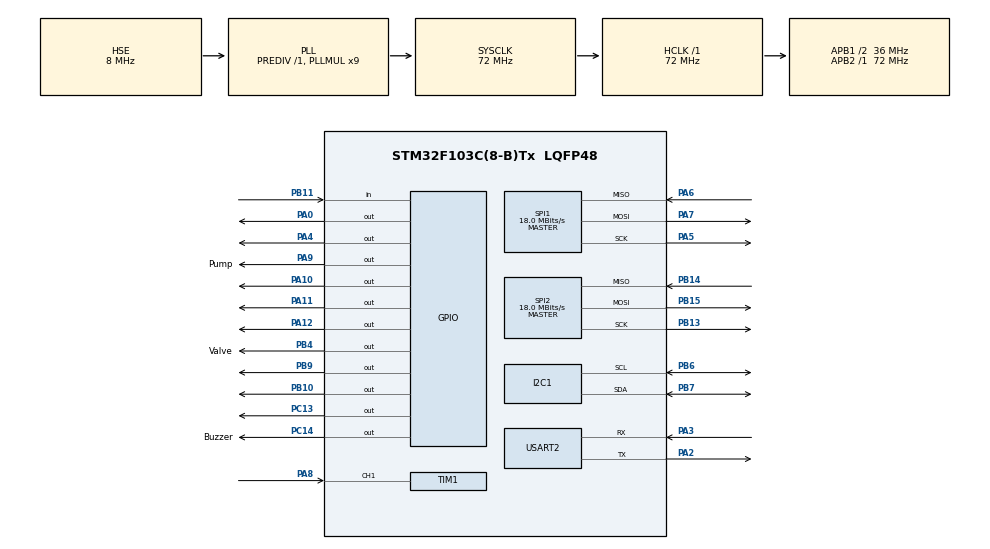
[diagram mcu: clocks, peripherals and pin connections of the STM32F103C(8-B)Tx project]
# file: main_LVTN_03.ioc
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Mcu.Family=STM32F1
PA6.Mode=Full_Duplex_Master
SPI1.VirtualType=VM_MASTER
SPI2.VirtualType=VM_MASTER
PB11.Signal=GPIO_Input
PB13.Signal=SPI2_SCK
PB15.Signal=SPI2_MOSI
RCC.SYSCLKSource=RCC_SYSCLKSOURCE_PLLCLK
ProjectManager.StackSize=0x400
PD1-OSC_OUT.Signal=RCC_OSC_OUT
PA12.Signal=GPIO_Output
TIM1.Prescaler=72-1
SPI1.Direction=SPI_DIRECTION_2LINES
RCC.HCLKFreq_Value=72000000
RCC.APB2TimFreq_Value=72000000
PB6.Signal=I2C1_SCL
SPI1.CalculateBaudRate=18.0 MBits/s
PB6.Mode=I2C
<<<<<<< HEAD
=======
>>>>>>> hx711
RCC.AHBFreq_Value=72000000
<<<<<<< HEAD
=======
>>>>>>> hx711
RCC.PLLMUL=RCC_PLL_MUL9
PA14.Mode=Serial_Wire
PB14.Mode=Full_Duplex_Master
SPI2.CalculateBaudRate=18.0 MBits/s
PB7.Signal=I2C1_SDA
PA8.Signal=S_TIM1_CH1
Mcu.Package=LQFP48
PB9.Signal=GPIO_Output
PA6.Signal=SPI1_MISO
SPI2.Mode=SPI_MODE_MASTER
USART2.VirtualMode=VM_ASYNC
PA10.Signal=GPIO_Output
RCC.APB1TimFreq_Value=72000000
PC14-OSC32_IN.GPIO_Label=Buzzer
SPI2.Direction=SPI_DIRECTION_2LINES
TIM1.Period=65535-1
PB13.Mode=Full_Duplex_Master
SPI1.BaudRatePrescaler=SPI_BAUDRATEPRESCALER_4
PB4.Signal=GPIO_Output
PA3.Signal=USART2_RX
PA5.Mode=Full_Duplex_Master
RCC.PLLSourceVirtual=RCC_PLLSOURCE_HSE
PA7.Mode=Full_Duplex_Master
PD1-OSC_OUT.Mode=HSE-External-Oscillator
<<<<<<< HEAD
=======
>>>>>>> hx711
PA9.GPIO_Label=Pump
PC13-TAMPER-RTC.Signal=GPIO_Output
PD0-OSC_IN.Signal=RCC_OSC_IN
RCC.APB1CLKDivider=RCC_HCLK_DIV2
PC14-OSC32_IN.Signal=GPIO_Output
<<<<<<< HEAD
=======
PA0-WKUP.Signal=GPIO_Output
>>>>>>> hx711
PA13.Signal=SYS_JTMS-SWDIO
PA3.Mode=Asynchronous
SH.S_TIM1_CH1.0=TIM1_CH1,Input_Capture1_from_TI1
ProjectManager.TargetToolchain=STM32CubeIDE
PA9.Signal=GPIO_Output
RCC.USBFreq_Value=72000000
PD0-OSC_IN.Mode=HSE-External-Oscillator
PB10.Signal=GPIO_Output
PB14.Signal=SPI2_MISO
PA5.Signal=SPI1_SCK
board=custom
PB15.Mode=Full_Duplex_Master
RCC.APB2Freq_Value=72000000
PB4.GPIO_Label=Valve
SPI1.Mode=SPI_MODE_MASTER
PA13.Mode=Serial_Wire
Mcu.Name=STM32F103C(8-B)Tx
<<<<<<< HEAD
PA2.Signal=USART2_TX
=======
PA2.Signal=USART2_TX
>>>>>>> hx711
NVIC.TIM1_CC_IRQn=true\:0\:0\:false\:false\:true\:true\:true
PA4.Signal=GPIO_Output
RCC.SYSCLKFreq_VALUE=72000000
<<<<<<< HEAD
=======
>>>>>>> hx711
TIM1.Channel-Input_Capture1_from_TI1=TIM_CHANNEL_1
PB7.Mode=I2C
PA11.Signal=GPIO_Output
PA14.Signal=SYS_JTCK-SWCLK
ProjectManager.HeapSize=0x200
<<<<<<< HEAD
VP_TIM4_VS_ClockSourceINT.Mode=Internal
NVIC.PriorityGroup=NVIC_PRIORITYGROUP_4
=======
VP_TIM4_VS_ClockSourceINT.Mode=Internal
NVIC.PriorityGroup=NVIC_PRIORITYGROUP_4
>>>>>>> hx711
PA2.Mode=Asynchronous
RCC.APB1Freq_Value=36000000
PA7.Signal=SPI1_MOSI

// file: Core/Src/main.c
/* USER CODE BEGIN Header */
/**
 ******************************************************************************
 * @file           : main.c
 * @brief          : Main program body
 ******************************************************************************
 * @attention
 *
 * <h2><center>&copy; Copyright (c) 2021 STMicroelectronics.
 * All rights reserved.</center></h2>
 *
 * This software component is licensed by ST under BSD 3-Clause license,
 * the "License"; You may not use this file except in compliance with the
 * License. You may obtain a copy of the License at:
 *                        opensource.org/licenses/BSD-3-Clause
 *
 ******************************************************************************
 */
/*
                "d:/_Project/LVTN/main_LVTN_03/Core/Inc",
                "d:/_Project/LVTN/main_LVTN_03/Core/Src",
                "d:/_Project/LVTN/main_LVTN_03/MLX90614BAA",
                "d:/_Project/LVTN/main_LVTN_03/Source_gLCD",
                "d:/_Project/LVTN/main_LVTN_03/Source_rc522",
                "d:/_Project/LVTN/main_LVTN_03/Src_HX711",
                "d:/_Project/LVTN/main_LVTN_03/util",
                "d:/_Project/LVTN/main_LVTN_03/UI_gLCD",
*/
/* USER CODE END Header */
#include "main.h"

/* USER CODE BEGIN Includes */
#include "stdio.h"
#include "ST7565.h"
#include "rc522.h"
#include "MLX90614.h"
#include "hx711.h"
#include "ui_gLCD.h"
//#include "IconBitmap.h"
/* USER CODE END Includes */

I2C_HandleTypeDef hi2c1;

SPI_HandleTypeDef hspi1;
SPI_HandleTypeDef hspi2;

TIM_HandleTypeDef htim1;
TIM_HandleTypeDef htim4;

UART_HandleTypeDef huart2;

void SystemClock_Config(void);
static void MX_GPIO_Init(void);
static void MX_SPI1_Init(void);
static void MX_SPI2_Init(void);
static void MX_TIM1_Init(void);
static void MX_I2C1_Init(void);
static void MX_USART2_UART_Init(void);
static void MX_TIM4_Init(void);

/* USER CODE BEGIN 0 */
void heightShow(uint8_t height)
{
  char chDistance[2];
  sprintf(chDistance, "%d", height);
  if(height < 10){

    ST7565_DrawChar(7*7, 1, chDistance[0], &Font_7x9, 1, 1);
    ST7565_Print(7*7+7, 1, " ", &Font_7x9, 1, 1);
    ST7565_Print(7*7+7*2, 1, " ", &Font_7x9, 1, 1);
    HAL_UART_Transmit(&huart2, (uint8_t *)&chDistance[0], 3, 100);
    HAL_UART_Transmit(&huart2, (uint8_t *)"\n", 1, 10);
  }
  else{
    ST7565_Print(7*7, 1, chDistance, &Font_7x9, 1, 1);
    HAL_UART_Transmit(&huart2, (uint8_t *)&chDistance, 3, 100);
    HAL_UART_Transmit(&huart2, (uint8_t *)"\n", 1, 10);
  }
}

void delay (uint16_t time)
{
	__HAL_TIM_SET_COUNTER(&htim1, 0);
	while (__HAL_TIM_GET_COUNTER (&htim1) < time);
}

uint32_t IC_Val1 = 0;
uint32_t IC_Val2 = 0;
uint32_t Difference = 0;
uint8_t Is_First_Captured = 0;  // is the first value captured ?
uint8_t Distance  = 0;

#define TRIG_PIN GPIO_PIN_9
#define TRIG_PORT GPIOB

// Let's write the callback function

void HAL_TIM_IC_CaptureCallback(TIM_HandleTypeDef *htim)
{
	if (htim->Channel == HAL_TIM_ACTIVE_CHANNEL_1)  // if the interrupt source is channel1
	{
		if (Is_First_Captured==0) // if the first value is not captured
		{
			IC_Val1 = HAL_TIM_ReadCapturedValue(htim, TIM_CHANNEL_1); // read the first value
			Is_First_Captured = 1;  // set the first captured as true
			// Now change the polarity to falling edge
			__HAL_TIM_SET_CAPTUREPOLARITY(htim, TIM_CHANNEL_1, TIM_INPUTCHANNELPOLARITY_FALLING);
		}

		else if (Is_First_Captured==1)   // if the first is already captured
		{
			IC_Val2 = HAL_TIM_ReadCapturedValue(htim, TIM_CHANNEL_1);  // read second value
			__HAL_TIM_SET_COUNTER(htim, 0);  // reset the counter

			if (IC_Val2 > IC_Val1)
			{
				Difference = IC_Val2-IC_Val1;
			}

			else if (IC_Val1 > IC_Val2)
			{
				Difference = (0xffff - IC_Val1) + IC_Val2;
			}

			Distance = Difference * .034/2;
			Is_First_Captured = 0; // set it back to false

			// set polarity to rising edge
			__HAL_TIM_SET_CAPTUREPOLARITY(htim, TIM_CHANNEL_1, TIM_INPUTCHANNELPOLARITY_RISING);
			__HAL_TIM_DISABLE_IT(&htim1, TIM_IT_CC1);
		}
	}
}

void HCSR04_Read (void)
{
	HAL_GPIO_WritePin(TRIG_PORT, TRIG_PIN, GPIO_PIN_SET);  // pull the TRIG pin HIGH
	delay(10);  // wait for 10 us
	HAL_GPIO_WritePin(TRIG_PORT, TRIG_PIN, GPIO_PIN_RESET);  // pull the TRIG pin low

	__HAL_TIM_ENABLE_IT(&htim1, TIM_IT_CC1);
}
/* USER CODE END 0 */

int main(void)
{

  /* MCU Configuration--------------------------------------------------------*/

  /* Reset of all peripherals, Initializes the Flash interface and the Systick. */
  HAL_Init();

  /* Configure the system clock */
  SystemClock_Config();

  /* Initialize all configured peripherals */
  MX_GPIO_Init();
  MX_SPI1_Init();
  MX_SPI2_Init();
  MX_TIM1_Init();
  MX_I2C1_Init();
  MX_USART2_UART_Init();
  MX_TIM4_Init();
  /* USER CODE BEGIN 2 */
<<<<<<< HEAD

    uint8_t height = 123;
    char ch_height[10];

    float temp = 36.5;
    char ch_temp[10];
=======
  TimerDelay_Init();
	ST7565_Init();
	HX711_init();

	HAL_Delay(100);
	HAL_TIM_IC_Start_IT(&htim1, TIM_CHANNEL_1);
	// UImeas_pressure();
  // uint8_t press = 0;
  // char press_ch[5];
  unsigned long noload;
  char noload_ch[10];
  float weight = 0;
  char weight_ch[5];
  HAL_GPIO_WritePin(Pump_GPIO_Port, Pump_Pin, 1);
  HAL_GPIO_WritePin(Valve_GPIO_Port, Valve_Pin, 1);
  HAL_GPIO_WritePin(Buzzer_GPIO_Port,Buzzer_Pin, 1);
  /* USER CODE END 2 */

  /* Infinite loop */
  /* USER CODE BEGIN WHILE */
	while (1) {
		HAL_GPIO_TogglePin(GPIOC, GPIO_PIN_13);
		HAL_Delay(100);

>>>>>>> hx711

    float weight = 60.7;
    char ch_weight[10];

    uint8_t pressure = 120;
    char pressure_ch[3];

<<<<<<< HEAD
    uint8_t pulse = 53;
    char pulse_ch[2];

  /* USER CODE END 2 */
=======
//    weight = getWeight();
//   sprintf (weight_ch, "%.1f", weight);
//   ST7565_Print(1, 1, weight_ch, &Font_11x18, 1, BLACK);

		// //Height
		// HCSR04_Read();
		// heightShow(Distance);
		// //RF
		// if (MFRC522_Check(CardID) == MI_OK) {
		// 	HAL_GPIO_WritePin(GPIOB, GPIO_PIN_4, SET);
		// 	sprintf(bufCardID, "%02X %02X %02X %02X %02X", CardID[0], CardID[1], CardID[2], CardID[3], CardID[4]);
		// 	ST7565_Print(7*7, 1+(9+2)*3, bufCardID, &Font_7x9, 1, 1);

		// }
		// else
		// 	HAL_GPIO_WritePin(GPIOB, GPIO_PIN_3, SET);

		// //Temp
		// Temp1 = MLX90614_ReadTemp(MLX90614_DEFAULT_SA, MLX90614_TOBJ1);
		// sprintf(bufTemp1, "%.1f", Temp1);
		// ST7565_Print(5*7, 1+(9+2)*2, bufTemp1, &Font_7x9, 1, 1);
		// HAL_UART_Transmit(&huart2, (uint8_t *)&bufTemp1, 5, 100);
		// HAL_UART_Transmit(&huart2, (uint8_t *)"     ", 5, 100);

		// //Weight
		// weight = HX711_getWeight();
		// sprintf(bufWeight, "%.1f", weight);
		// ST7565_Print(7*7, 1+(9+2), bufWeight, &Font_7x9, 1, 1);
		// HAL_UART_Transmit(&huart2, (uint8_t *)&bufWeight, 5, 100);
		// HAL_UART_Transmit(&huart2, (uint8_t *)"     ", 5, 100);
>>>>>>> hx711

  /* Infinite loop */
  /* USER CODE BEGIN WHILE */

	while (1) {
//		HAL_Delay(10000);
		HAL_UART_Transmit(&huart2, (uint8_t*)"START", 5, 100);
		sprintf(ch_height, "%d", height);
		HAL_UART_Transmit(&huart2, (uint8_t*)"$", 1, 100);
    HAL_UART_Transmit(&huart2, (uint8_t*)&ch_height, 3, 100);
    HAL_UART_Transmit(&huart2, (uint8_t*)"\n", 1, 10);

    sprintf(ch_weight, "%.1f", weight);
    HAL_UART_Transmit(&huart2, (uint8_t*)"#", 1, 100);
    HAL_UART_Transmit(&huart2, (uint8_t*)&ch_weight, 4, 100);
    HAL_UART_Transmit(&huart2, (uint8_t*)"\n", 1, 10);

    sprintf(ch_temp, "%.1f", temp);
    HAL_UART_Transmit(&huart2, (uint8_t*)"@", 1, 100);
    HAL_UART_Transmit(&huart2, (uint8_t*)&ch_temp, 4, 100);
    HAL_UART_Transmit(&huart2, (uint8_t*)"\n", 1, 10);

    sprintf(pressure_ch, "%d", pressure);
    HAL_UART_Transmit(&huart2, (uint8_t*)"%", 1, 100);
    HAL_UART_Transmit(&huart2, (uint8_t*)&pressure_ch, 3, 100);
    HAL_UART_Transmit(&huart2, (uint8_t*)"\n", 1, 10);

    sprintf(pulse_ch, "%d", pulse);
    HAL_UART_Transmit(&huart2, (uint8_t*)"&", 1, 100);
    HAL_UART_Transmit(&huart2, (uint8_t*)&pulse_ch, 2, 100);
    HAL_UART_Transmit(&huart2, (uint8_t*)"\n", 1, 10);
    HAL_UART_Transmit(&huart2, (uint8_t*)"OVER", 4, 100);

    /* USER CODE END WHILE */

	}
}

void SystemClock_Config(void)
{
  RCC_OscInitTypeDef RCC_OscInitStruct = {0};
  RCC_ClkInitTypeDef RCC_ClkInitStruct = {0};

  /** Initializes the RCC Oscillators according to the specified parameters
  * in the RCC_OscInitTypeDef structure.
  */
  RCC_OscInitStruct.OscillatorType = RCC_OSCILLATORTYPE_HSE;
  RCC_OscInitStruct.HSEState = RCC_HSE_ON;
  RCC_OscInitStruct.HSEPredivValue = RCC_HSE_PREDIV_DIV1;
  RCC_OscInitStruct.HSIState = RCC_HSI_ON;
  RCC_OscInitStruct.PLL.PLLState = RCC_PLL_ON;
  RCC_OscInitStruct.PLL.PLLSource = RCC_PLLSOURCE_HSE;
  RCC_OscInitStruct.PLL.PLLMUL = RCC_PLL_MUL9;
  if (HAL_RCC_OscConfig(&RCC_OscInitStruct) != HAL_OK)
  {
    Error_Handler();
  }
  /** Initializes the CPU, AHB and APB buses clocks
  */
  RCC_ClkInitStruct.ClockType = RCC_CLOCKTYPE_HCLK|RCC_CLOCKTYPE_SYSCLK
                              |RCC_CLOCKTYPE_PCLK1|RCC_CLOCKTYPE_PCLK2;
  RCC_ClkInitStruct.SYSCLKSource = RCC_SYSCLKSOURCE_PLLCLK;
  RCC_ClkInitStruct.AHBCLKDivider = RCC_SYSCLK_DIV1;
  RCC_ClkInitStruct.APB1CLKDivider = RCC_HCLK_DIV2;
  RCC_ClkInitStruct.APB2CLKDivider = RCC_HCLK_DIV1;

  if (HAL_RCC_ClockConfig(&RCC_ClkInitStruct, FLASH_LATENCY_2) != HAL_OK)
  {
    Error_Handler();
  }
}

static void MX_I2C1_Init(void)
{

  hi2c1.Instance = I2C1;
  hi2c1.Init.ClockSpeed = 100000;
  hi2c1.Init.DutyCycle = I2C_DUTYCYCLE_2;
  hi2c1.Init.OwnAddress1 = 0;
  hi2c1.Init.AddressingMode = I2C_ADDRESSINGMODE_7BIT;
  hi2c1.Init.DualAddressMode = I2C_DUALADDRESS_DISABLE;
  hi2c1.Init.OwnAddress2 = 0;
  hi2c1.Init.GeneralCallMode = I2C_GENERALCALL_DISABLE;
  hi2c1.Init.NoStretchMode = I2C_NOSTRETCH_DISABLE;
  if (HAL_I2C_Init(&hi2c1) != HAL_OK)
  {
    Error_Handler();
  }

}

static void MX_SPI1_Init(void)
{

  /* SPI1 parameter configuration*/
  hspi1.Instance = SPI1;
  hspi1.Init.Mode = SPI_MODE_MASTER;
  hspi1.Init.Direction = SPI_DIRECTION_2LINES;
  hspi1.Init.DataSize = SPI_DATASIZE_8BIT;
  hspi1.Init.CLKPolarity = SPI_POLARITY_LOW;
  hspi1.Init.CLKPhase = SPI_PHASE_1EDGE;
  hspi1.Init.NSS = SPI_NSS_SOFT;
  hspi1.Init.BaudRatePrescaler = SPI_BAUDRATEPRESCALER_4;
  hspi1.Init.FirstBit = SPI_FIRSTBIT_MSB;
  hspi1.Init.TIMode = SPI_TIMODE_DISABLE;
  hspi1.Init.CRCCalculation = SPI_CRCCALCULATION_DISABLE;
  hspi1.Init.CRCPolynomial = 10;
  if (HAL_SPI_Init(&hspi1) != HAL_OK)
  {
    Error_Handler();
  }

}

static void MX_SPI2_Init(void)
{

  /* SPI2 parameter configuration*/
  hspi2.Instance = SPI2;
  hspi2.Init.Mode = SPI_MODE_MASTER;
  hspi2.Init.Direction = SPI_DIRECTION_2LINES;
  hspi2.Init.DataSize = SPI_DATASIZE_8BIT;
  hspi2.Init.CLKPolarity = SPI_POLARITY_LOW;
  hspi2.Init.CLKPhase = SPI_PHASE_1EDGE;
  hspi2.Init.NSS = SPI_NSS_SOFT;
  hspi2.Init.BaudRatePrescaler = SPI_BAUDRATEPRESCALER_2;
  hspi2.Init.FirstBit = SPI_FIRSTBIT_MSB;
  hspi2.Init.TIMode = SPI_TIMODE_DISABLE;
  hspi2.Init.CRCCalculation = SPI_CRCCALCULATION_DISABLE;
  hspi2.Init.CRCPolynomial = 10;
  if (HAL_SPI_Init(&hspi2) != HAL_OK)
  {
    Error_Handler();
  }

}

static void MX_TIM1_Init(void)
{

  TIM_MasterConfigTypeDef sMasterConfig = {0};
  TIM_IC_InitTypeDef sConfigIC = {0};

  htim1.Instance = TIM1;
  htim1.Init.Prescaler = 72-1;
  htim1.Init.CounterMode = TIM_COUNTERMODE_UP;
  htim1.Init.Period = 65535-1;
  htim1.Init.ClockDivision = TIM_CLOCKDIVISION_DIV1;
  htim1.Init.RepetitionCounter = 0;
  htim1.Init.AutoReloadPreload = TIM_AUTORELOAD_PRELOAD_DISABLE;
  if (HAL_TIM_IC_Init(&htim1) != HAL_OK)
  {
    Error_Handler();
  }
  sMasterConfig.MasterOutputTrigger = TIM_TRGO_RESET;
  sMasterConfig.MasterSlaveMode = TIM_MASTERSLAVEMODE_DISABLE;
  if (HAL_TIMEx_MasterConfigSynchronization(&htim1, &sMasterConfig) != HAL_OK)
  {
    Error_Handler();
  }
  sConfigIC.ICPolarity = TIM_INPUTCHANNELPOLARITY_RISING;
  sConfigIC.ICSelection = TIM_ICSELECTION_DIRECTTI;
  sConfigIC.ICPrescaler = TIM_ICPSC_DIV1;
  sConfigIC.ICFilter = 0;
  if (HAL_TIM_IC_ConfigChannel(&htim1, &sConfigIC, TIM_CHANNEL_1) != HAL_OK)
  {
    Error_Handler();
  }

}

static void MX_TIM4_Init(void)
{

  TIM_ClockConfigTypeDef sClockSourceConfig = {0};
  TIM_MasterConfigTypeDef sMasterConfig = {0};

  htim4.Instance = TIM4;
  htim4.Init.Prescaler = 0;
  htim4.Init.CounterMode = TIM_COUNTERMODE_UP;
  htim4.Init.Period = 65535;
  htim4.Init.ClockDivision = TIM_CLOCKDIVISION_DIV1;
  htim4.Init.AutoReloadPreload = TIM_AUTORELOAD_PRELOAD_DISABLE;
  if (HAL_TIM_Base_Init(&htim4) != HAL_OK)
  {
    Error_Handler();
  }
  sClockSourceConfig.ClockSource = TIM_CLOCKSOURCE_INTERNAL;
  if (HAL_TIM_ConfigClockSource(&htim4, &sClockSourceConfig) != HAL_OK)
  {
    Error_Handler();
  }
  sMasterConfig.MasterOutputTrigger = TIM_TRGO_RESET;
  sMasterConfig.MasterSlaveMode = TIM_MASTERSLAVEMODE_DISABLE;
  if (HAL_TIMEx_MasterConfigSynchronization(&htim4, &sMasterConfig) != HAL_OK)
  {
    Error_Handler();
  }

}

static void MX_USART2_UART_Init(void)
{

  huart2.Instance = USART2;
  huart2.Init.BaudRate = 115200;
  huart2.Init.WordLength = UART_WORDLENGTH_8B;
  huart2.Init.StopBits = UART_STOPBITS_1;
  huart2.Init.Parity = UART_PARITY_NONE;
  huart2.Init.Mode = UART_MODE_TX_RX;
  huart2.Init.HwFlowCtl = UART_HWCONTROL_NONE;
  huart2.Init.OverSampling = UART_OVERSAMPLING_16;
  if (HAL_UART_Init(&huart2) != HAL_OK)
  {
    Error_Handler();
  }

}

static void MX_GPIO_Init(void)
{
  GPIO_InitTypeDef GPIO_InitStruct = {0};

  /* GPIO Ports Clock Enable */
  __HAL_RCC_GPIOC_CLK_ENABLE();
  __HAL_RCC_GPIOD_CLK_ENABLE();
  __HAL_RCC_GPIOA_CLK_ENABLE();
  __HAL_RCC_GPIOB_CLK_ENABLE();

  /*Configure GPIO pin Output Level */
  HAL_GPIO_WritePin(GPIOC, GPIO_PIN_13|Buzzer_Pin, GPIO_PIN_RESET);
<<<<<<< HEAD

  /*Configure GPIO pin Output Level */
  HAL_GPIO_WritePin(GPIOA, GPIO_PIN_4|Pump_Pin|GPIO_PIN_10|GPIO_PIN_11
                          |GPIO_PIN_12, GPIO_PIN_RESET);

  /*Configure GPIO pin Output Level */
  HAL_GPIO_WritePin(GPIOB, GPIO_PIN_10|Valve_Pin|GPIO_PIN_9, GPIO_PIN_RESET);

=======

  /*Configure GPIO pin Output Level */
  HAL_GPIO_WritePin(GPIOA, GPIO_PIN_0|GPIO_PIN_4|Pump_Pin|GPIO_PIN_10
                          |GPIO_PIN_11|GPIO_PIN_12, GPIO_PIN_RESET);

  /*Configure GPIO pin Output Level */
  HAL_GPIO_WritePin(GPIOB, GPIO_PIN_10|Valve_Pin|GPIO_PIN_9, GPIO_PIN_RESET);

>>>>>>> hx711
  /*Configure GPIO pins : PC13 Buzzer_Pin */
  GPIO_InitStruct.Pin = GPIO_PIN_13|Buzzer_Pin;
  GPIO_InitStruct.Mode = GPIO_MODE_OUTPUT_PP;
  GPIO_InitStruct.Pull = GPIO_NOPULL;
  GPIO_InitStruct.Speed = GPIO_SPEED_FREQ_LOW;
  HAL_GPIO_Init(GPIOC, &GPIO_InitStruct);

<<<<<<< HEAD
  /*Configure GPIO pins : PA4 Pump_Pin PA10 PA11
                           PA12 */
  GPIO_InitStruct.Pin = GPIO_PIN_4|Pump_Pin|GPIO_PIN_10|GPIO_PIN_11
                          |GPIO_PIN_12;
=======
  /*Configure GPIO pins : PA0 PA4 Pump_Pin PA10
                           PA11 PA12 */
  GPIO_InitStruct.Pin = GPIO_PIN_0|GPIO_PIN_4|Pump_Pin|GPIO_PIN_10
                          |GPIO_PIN_11|GPIO_PIN_12;
>>>>>>> hx711
  GPIO_InitStruct.Mode = GPIO_MODE_OUTPUT_PP;
  GPIO_InitStruct.Pull = GPIO_NOPULL;
  GPIO_InitStruct.Speed = GPIO_SPEED_FREQ_LOW;
  HAL_GPIO_Init(GPIOA, &GPIO_InitStruct);

  /*Configure GPIO pins : PB10 Valve_Pin PB9 */
  GPIO_InitStruct.Pin = GPIO_PIN_10|Valve_Pin|GPIO_PIN_9;
  GPIO_InitStruct.Mode = GPIO_MODE_OUTPUT_PP;
  GPIO_InitStruct.Pull = GPIO_NOPULL;
  GPIO_InitStruct.Speed = GPIO_SPEED_FREQ_LOW;
  HAL_GPIO_Init(GPIOB, &GPIO_InitStruct);

  /*Configure GPIO pin : PB11 */
  GPIO_InitStruct.Pin = GPIO_PIN_11;
  GPIO_InitStruct.Mode = GPIO_MODE_INPUT;
  GPIO_InitStruct.Pull = GPIO_NOPULL;
  HAL_GPIO_Init(GPIOB, &GPIO_InitStruct);

}

void Error_Handler(void)
{
__disable_irq();
while (1) {
}
}

/************************ (C) COPYRIGHT STMicroelectronics *****END OF FILE****/
